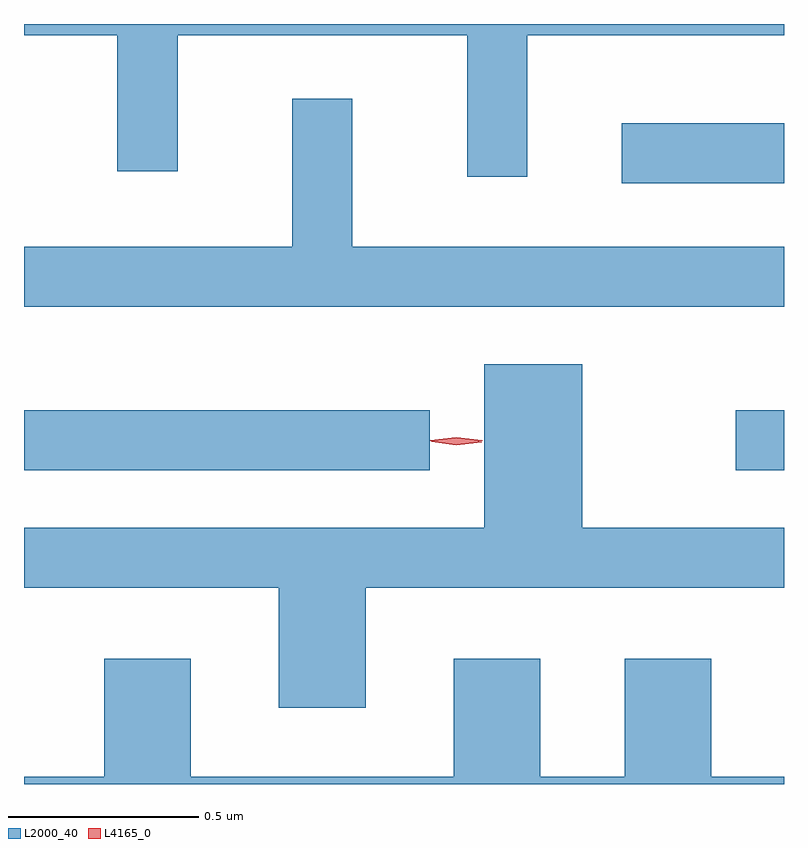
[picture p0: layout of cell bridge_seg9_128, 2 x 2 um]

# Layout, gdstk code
import gdstk
lib = gdstk.Library(unit=1e-6, precision=1e-09)
def R(c, l, rs):  # rectangles x0, y0, x1, y1
    for r in rs: c.add(gdstk.rectangle(r[:2], r[2:], *l))
def P(c, l, *ps):  # polygons
    for p in ps: c.add(gdstk.Polygon(p, *l))
L2000_40 = (2000, 40)
L4165_0 = (4165, 0)

bridge_seg9_128 = lib.new_cell('bridge_seg9_128')
R(bridge_seg9_128, L2000_40, [(1710.62,1975.131,1711.688,1975.289), (1712.493,1975.131,1712.62,1975.289), (1712.193,1975.886,1712.62,1976.044)])
P(bridge_seg9_128, L2000_40, [(1711.944,1976.276),(1712.62,1976.276),(1712.62,1976.305),(1710.62,1976.305),(1710.62,1976.276),(1710.866,1976.276),(1710.866,1975.918),(1711.024,1975.918),(1711.024,1976.276),(1711.786,1976.276),(1711.786,1975.903),(1711.944,1975.903)],
  [(1712.62,1975.719),(1711.484,1975.719),(1711.484,1976.108),(1711.326,1976.108),(1711.326,1975.719),(1710.62,1975.719),(1710.62,1975.561),(1712.62,1975.561)],
  [(1711.519,1974.821),(1712.62,1974.821),(1712.62,1974.979),(1712.089,1974.979),(1712.089,1975.409),(1711.831,1975.409),(1711.831,1974.979),(1710.62,1974.979),(1710.62,1974.821),(1711.291,1974.821),(1711.291,1974.506),(1711.519,1974.506)],
  [(1712.62,1974.324),(1712.429,1974.324),(1712.429,1974.634),(1712.201,1974.634),(1712.201,1974.324),(1711.979,1974.324),(1711.979,1974.634),(1711.751,1974.634),(1711.751,1974.324),(1711.059,1974.324),(1711.059,1974.634),(1710.831,1974.634),(1710.831,1974.324),(1710.62,1974.324),(1710.62,1974.305),(1712.62,1974.305)])
P(bridge_seg9_128, L4165_0, [(1711.758,1975.198),(1711.689,1975.208),(1711.689,1975.208),(1711.689,1975.209),(1711.758,1975.218),(1711.826,1975.209),(1711.827,1975.208),(1711.826,1975.208)],
  [(1711.758,1975.196),(1711.693,1975.206),(1711.692,1975.207),(1711.693,1975.207),(1711.758,1975.216),(1711.824,1975.206),(1711.824,1975.205),(1711.824,1975.205)])

lib.write_gds('bridge_seg9_128.gds')
